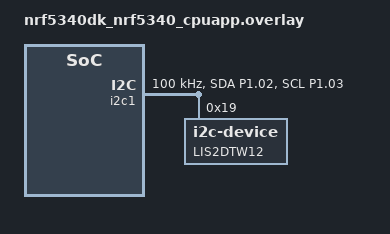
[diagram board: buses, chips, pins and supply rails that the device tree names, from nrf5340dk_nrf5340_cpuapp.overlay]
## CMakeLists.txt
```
cmake_minimum_required(VERSION 3.20.0)
find_package(Zephyr REQUIRED HINTS $ENV{ZEPHYR_BASE})

project(UART_RX_nRF5430)

target_sources(app PRIVATE src/main.c)
```

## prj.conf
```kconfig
CONFIG_STDOUT_CONSOLE=y
CONFIG_SERIAL=y
CONFIG_UART_ASYNC_API=y
```

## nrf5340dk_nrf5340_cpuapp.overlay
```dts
&pinctrl {
	i2c1_default_alt: i2c1_default_alt {
		group2 {
			psels = <NRF_PSEL(TWIM_SDA, 1, 02)>, <NRF_PSEL(TWIM_SCL, 1, 03)>;
			bias-pull-up;
		};
	};

	i2c1_default_sleep: i2c1_default_sleep {
		group3 {
			psels = <NRF_PSEL(TWIM_SDA, 1, 02)>, <NRF_PSEL(TWIM_SCL, 1, 03)>;
			low-power-enable;
		};
	};
};


&i2c1 {
	status = "okay";
	compatible = "nordic,nrf-twim";
	pinctrl-0 = <&i2c1_default_alt>;
	pinctrl-1 = <&i2c1_default_sleep>;
	pinctrl-names = "default", "sleep";
	clock-frequency = < I2C_BITRATE_STANDARD >;
    lis2dtw12: lis2dtw12@19 {
        compatible = "i2c-device";
        status = "okay"; // https://devzone.nordicsemi.com/f/nordic-q-a/107801/usage-of-interrupts-from-i2c-device
		reg = <0x19>; // https://community.st.com/t5/mems-sensors/dts-configuration-for-lis2dw12/td-p/148824
		label = "LIS2DTW12";
	};
};
```

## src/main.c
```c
#include <zephyr/kernel.h>
#include <zephyr/drivers/uart.h>
#include <zephyr/sys/printk.h>


#define RX_BUFFER_SIZE 15  // Match the transmitter's buffer size

static uint8_t rxBuffer[RX_BUFFER_SIZE];  // Buffer for receiving UART data
static uint8_t rxIndex = 0;

static void uart_cb(const struct device *dev, struct uart_event *evt, void *user_data)
{
	switch (evt->type) {
	
	case UART_TX_DONE:
		// do something
		break;

	case UART_TX_ABORTED:
		// do something
		break;
		
                case UART_RX_RDY:
                // Copy received data into the buffer
                for (int i = 0; i < evt->data.rx.len; i++) {
                    // Check for buffer overflow
                    if (rxIndex >= RX_BUFFER_SIZE) {
                        rxIndex = 0;  // Reset buffer index to prevent overflow
                    }
            
                    // Store the received byte
                    rxBuffer[rxIndex++] = evt->data.rx.buf[evt->data.rx.offset + i];
            
                    // Check if a complete packet is received
                    if (rxIndex == RX_BUFFER_SIZE) {
                        // Verify the start and end bytes
                        if (rxBuffer[0] == 0xAA && rxBuffer[RX_BUFFER_SIZE - 2] == 0x55) {
                            // Reconstruct uint16_t values
                            uint16_t values[6];
                            for (int j = 0; j < 6; j++) {
                                values[j] = (rxBuffer[1 + 2 * j] << 8) | rxBuffer[2 + 2 * j];
                            }
            
                            // Print the received values
                            printk("Received: %d, %d, %d, %d, %d, %d\n",
                                   values[0], values[1], values[2],
                                   values[3], values[4], values[5]);
                        } else {
                            printk("Invalid packet format!\n");
                        }
            
                        // Reset the buffer index for the next packet
                        rxIndex = 0;
                    }
                }
                break;

	case UART_RX_BUF_REQUEST:
		// do something
		break;

	case UART_RX_BUF_RELEASED:
		// do something
		break;
		
	case UART_RX_DISABLED:
		// do something
                uart_rx_enable(dev, rxBuffer, sizeof(rxBuffer), 100);
		break;

	case UART_RX_STOPPED:
		// do something
		break;
		
	default:
		break;
	}
}


int main(void)
{
        const struct device *uart = DEVICE_DT_GET(DT_NODELABEL(uart0));

        if (!device_is_ready(uart)) {
        printk("UART device %s is not ready\n", uart->name);
        return -ENODEV;
        }

        const struct uart_config uart_cfg = {
		.baudrate = 115200,
		.parity = UART_CFG_PARITY_NONE,
		.stop_bits = UART_CFG_STOP_BITS_1,
		.data_bits = UART_CFG_DATA_BITS_8,
		.flow_ctrl = UART_CFG_FLOW_CTRL_NONE
	};

    int err = uart_configure(uart, &uart_cfg);

	if (err == -ENOSYS) {
		return -ENOSYS;
	}

        err = uart_callback_set(uart, uart_cb, NULL);
        if (err) {
                return err;
        }

         
        uart_rx_enable(uart, rxBuffer, sizeof(rxBuffer), 100);

        printk("Hello World!\n");
        return 0;
}
```
